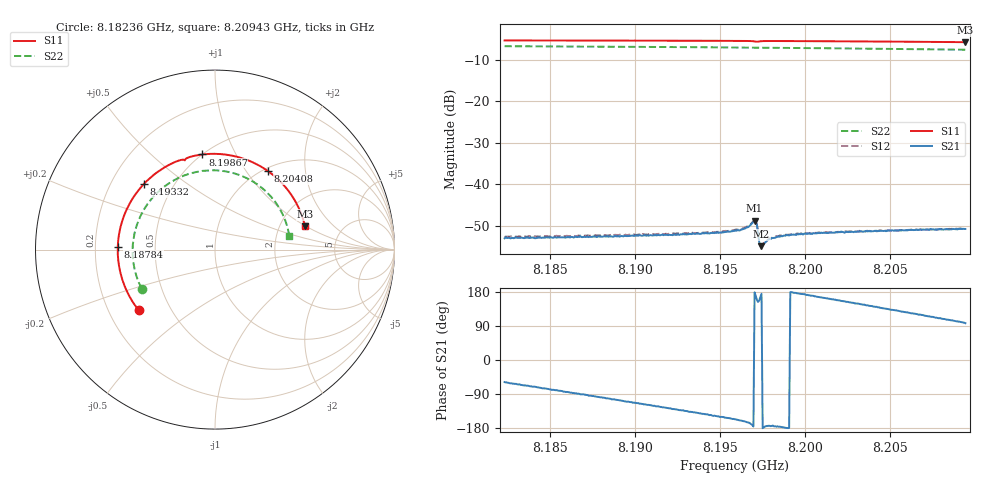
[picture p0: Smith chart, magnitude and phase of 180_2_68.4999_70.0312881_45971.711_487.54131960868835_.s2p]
#  HZ  S  RI  R  50.00
! Rohde & Schwarz Vector Network Analyzer
! Rohde-Schwarz,ZNB20-2Port,1311601062101988,3.16
! Created: UTC 3/20/2024, 4:56:40 PM
! freq[Hz]  re:S11  im:S11  re:S21  im:S21  re:S12  im:S12  re:S22  im:S22
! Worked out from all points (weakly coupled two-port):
!   401 points, 8.18236 GHz to 8.20943 GHz, reference 50 ohm
!   highest |S21| = -48.74 dB at 8.19704 GHz (marker M1); lowest = -54.9 dB at 8.19745 GHz (marker M2)
!   lowest |S11| = -5.7 dB at 8.20943 GHz (marker M3), VSWR 3.15, Z = 138 + j49.1 ohm
!   |S11| at or under -10 dB: nowhere
!   |S22| runs from -7.5 to -6.7 dB; largest |S21 - S12| = 0.00019
!   S11 on the Smith chart (normalised r, x): 8.18236 GHz: 0.33, -0.32; 8.18784 GHz: 0.30, +0.01; 8.19332 GHz: 0.34, +0.35; 8.19867 GHz: 0.50, +0.74; 8.20408 GHz: 1.04, +1.27; 8.20943 GHz: 2.76, +0.98
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8.182357e9  -0.4246 -0.3391  0.00118 -0.00191  0.00118 -0.00201  -0.4089 -0.2181
8.184725e9  -0.506 -0.1965  0.000584 -0.00221  0.000563 -0.00232  -0.4512 -0.0938
8.186891e9  -0.5398 -0.0497  -1.83e-05 -0.00232  -3.24e-05 -0.00242  -0.4579 0.026
8.187839e9  -0.5415 0.0165  -0.000296 -0.00234  -0.000372 -0.00241  -0.4509 0.078
8.189598e9  -0.5233 0.138  -0.000805 -0.00225  -0.000878 -0.0023  -0.4223 0.1712
8.191426e9  -0.4755 0.2566  -0.00132 -0.00208  -0.00146 -0.00208  -0.3723 0.259
8.193321e9  -0.3975 0.3643  -0.00185 -0.00172  -0.00194 -0.00166  -0.3007 0.3361
8.195892e9  -0.2534 0.4736  -0.00255 -0.00111  -0.00264 -0.00106  -0.1783 0.4104
8.196434e9  -0.2182 0.4899  -0.0028 -0.000924  -0.00289 -0.000817  -0.1495 0.4206
8.197043e9  -0.1731 0.5005  -0.00366 9.48e-05  -0.00375 0.000263  -0.1167 0.4297
8.197111e9  -0.169 0.4987  -0.00355 0.000677  -0.00361 0.000819  -0.1129 0.4305
8.197314e9  -0.1657 0.5024  -0.00187 0.000797  -0.00188 0.00088  -0.102 0.4329
8.197381e9  -0.162 0.5062  -0.00177 0.000453  -0.00179 0.000477  -0.0983 0.4337
8.197449e9  -0.1575 0.509  -0.0018 0.000165  -0.00183 0.000222  -0.0945 0.4345
8.19799e9  -0.1183 0.5218  -0.0022 -0.00021  -0.00224 -0.000155  -0.0642 0.439
8.198667e9  -0.0703 0.5299  -0.00238 -0.000114  -0.00243 -7.66e-06  -0.026 0.4417
8.200427e9  0.0543 0.5299  -0.0025 0.000456  -0.00254 0.000583  0.0734 0.4332
8.202254e9  0.1794 0.4992  -0.00242 0.00112  -0.00241 0.00121  0.172 0.4003
8.204081e9  0.2934 0.4386  -0.00214 0.00174  -0.00209 0.00183  0.2611 0.3442
8.204961e9  0.3423 0.3998  -0.00192 0.00202  -0.00186 0.00208  0.2986 0.3094
8.207262e9  0.4449 0.2734  -0.00121 0.00258  -0.00116 0.00261  0.3756 0.199
8.209428e9  0.5014 0.1303  -0.000363 0.00289  -0.00031 0.00296  0.4136 0.0758
